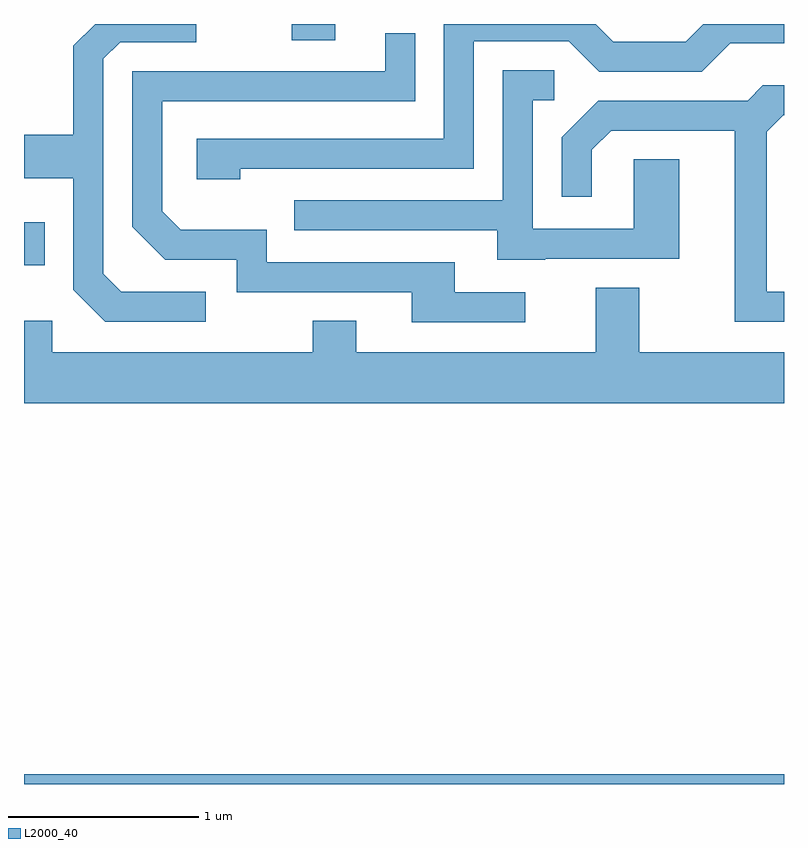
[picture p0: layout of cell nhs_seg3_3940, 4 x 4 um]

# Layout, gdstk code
import gdstk
lib = gdstk.Library(unit=1e-6, precision=1e-09)
def R(c, l, rs):  # rectangles x0, y0, x1, y1
    for r in rs: c.add(gdstk.rectangle(r[:2], r[2:], *l))
def P(c, l, *ps):  # polygons
    for p in ps: c.add(gdstk.Polygon(p, *l))
L2000_40 = (2000, 40)

nhs_seg3_3940 = lib.new_cell('nhs_seg3_3940')
R(nhs_seg3_3940, L2000_40, [(299.611,1243.892,303.611,1243.944), (299.611,1246.621,299.719,1246.849), (301.021,1247.806,301.249,1247.892)])
P(nhs_seg3_3940, L2000_40, [(300.749,1247.131),(301.979,1247.131),(301.979,1247.801),(302.479,1247.801),(302.639,1247.641),(303.177,1247.641),(303.327,1247.791),(303.611,1247.791),(303.611,1247.892),(303.187,1247.892),(303.094,1247.799),(302.712,1247.799),(302.619,1247.892),(301.821,1247.892),(301.821,1247.289),(300.521,1247.289),(300.521,1247.076),(300.749,1247.076)],
  [(300.568,1246.484),(300.122,1246.484),(300.029,1246.577),(300.029,1247.709),(300.117,1247.796),(300.518,1247.796),(300.518,1247.892),(299.987,1247.892),(299.871,1247.777),(299.871,1247.309),(299.611,1247.309),(299.611,1247.081),(299.871,1247.081),(299.871,1246.494),(300.039,1246.326),(300.568,1246.326)],
  [(302.248,1246.479),(301.879,1246.479),(301.879,1246.639),(300.889,1246.639),(300.889,1246.809),(300.437,1246.809),(300.339,1246.907),(300.339,1247.486),(301.669,1247.486),(301.669,1247.843),(301.511,1247.843),(301.511,1247.644),(300.181,1247.644),(300.181,1246.824),(300.354,1246.651),(300.731,1246.651),(300.731,1246.481),(301.651,1246.481),(301.651,1246.321),(302.248,1246.321)],
  [(302.355,1246.656),(303.059,1246.656),(303.059,1247.179),(302.821,1247.179),(302.821,1246.814),(302.289,1246.814),(302.289,1247.491),(302.403,1247.491),(302.403,1247.649),(302.131,1247.649),(302.131,1246.964),(301.033,1246.964),(301.033,1246.806),(302.101,1246.806),(302.101,1246.651),(302.355,1246.651)],
  [(303.611,1246.484),(303.519,1246.484),(303.519,1247.324),(303.607,1247.411),(303.611,1247.411),(303.611,1247.569),(303.499,1247.569),(303.419,1247.489),(302.634,1247.489),(302.441,1247.297),(302.441,1246.983),(302.599,1246.983),(302.599,1247.229),(302.702,1247.331),(303.351,1247.331),(303.351,1246.326),(303.611,1246.326)],
  [(303.611,1246.164),(302.849,1246.164),(302.849,1246.504),(302.621,1246.504),(302.621,1246.164),(301.359,1246.164),(301.359,1246.329),(301.131,1246.329),(301.131,1246.164),(299.759,1246.164),(299.759,1246.329),(299.611,1246.329),(299.611,1245.896),(303.611,1245.896)])

lib.write_gds('nhs_seg3_3940.gds')
